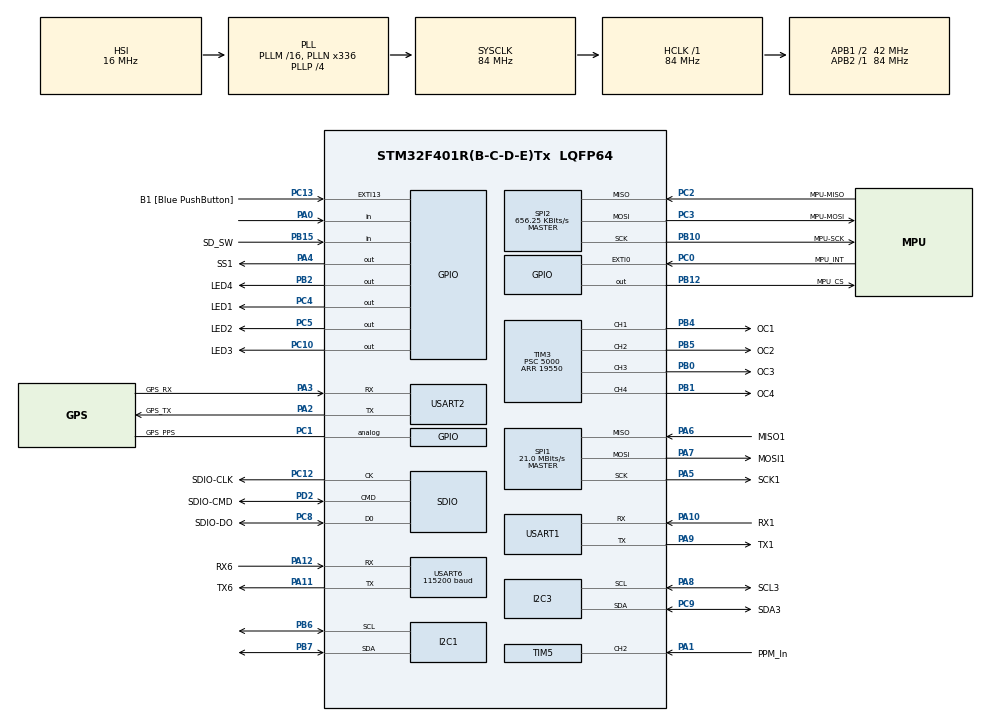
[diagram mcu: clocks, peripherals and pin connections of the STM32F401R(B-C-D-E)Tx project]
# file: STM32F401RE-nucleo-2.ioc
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Dma.Request0=SPI2_RX
Dma.Request1=SPI2_TX
Dma.SPI2_RX.0.Channel=DMA_CHANNEL_0
Dma.SPI2_RX.0.Direction=DMA_PERIPH_TO_MEMORY
Dma.SPI2_RX.0.FIFOMode=DMA_FIFOMODE_DISABLE
Dma.SPI2_RX.0.FIFOThreshold=DMA_FIFO_THRESHOLD_FULL
Dma.SPI2_RX.0.Instance=DMA1_Stream3
Dma.SPI2_RX.0.MemBurst=DMA_MBURST_SINGLE
Dma.SPI2_RX.0.MemDataAlignment=DMA_MDATAALIGN_BYTE
Dma.SPI2_RX.0.MemInc=DMA_MINC_ENABLE
Dma.SPI2_RX.0.Mode=DMA_NORMAL
Dma.SPI2_RX.0.PeriphBurst=DMA_PBURST_SINGLE
Dma.SPI2_RX.0.PeriphDataAlignment=DMA_PDATAALIGN_BYTE
Dma.SPI2_RX.0.PeriphInc=DMA_PINC_DISABLE
Dma.SPI2_RX.0.Priority=DMA_PRIORITY_LOW
Dma.SPI2_TX.1.Channel=DMA_CHANNEL_0
Dma.SPI2_TX.1.Direction=DMA_MEMORY_TO_PERIPH
Dma.SPI2_TX.1.FIFOMode=DMA_FIFOMODE_DISABLE
Dma.SPI2_TX.1.FIFOThreshold=DMA_FIFO_THRESHOLD_FULL
Dma.SPI2_TX.1.Instance=DMA1_Stream4
Dma.SPI2_TX.1.MemBurst=DMA_MBURST_SINGLE
Dma.SPI2_TX.1.MemDataAlignment=DMA_MDATAALIGN_BYTE
Dma.SPI2_TX.1.MemInc=DMA_MINC_DISABLE
Dma.SPI2_TX.1.Mode=DMA_NORMAL
Dma.SPI2_TX.1.PeriphBurst=DMA_PBURST_SINGLE
Dma.SPI2_TX.1.PeriphDataAlignment=DMA_PDATAALIGN_BYTE
Dma.SPI2_TX.1.PeriphInc=DMA_PINC_DISABLE
Dma.SPI2_TX.1.Priority=DMA_PRIORITY_LOW
FATFS.BSP.number=1
FATFS0.BSP.i2caddr=0
FATFS0.BSP.i2creg=0
FATFS0.BSP.instance=PB15
FATFS0.BSP.ip=GPIO
FATFS0.BSP.mode=Input
FATFS0.BSP.name=Detect_SDIO
FREERTOS.BinarySemaphores01=osSemaphoreIMU;osSemaphoreGPS
FREERTOS.Tasks01=defaultTask,0,1024,StartDefaultTask;TaskGPS,1,1024,StartTaskGPS;TaskIMU,2,1024,StartTaskIMU
FREERTOS.configCHECK_FOR_STACK_OVERFLOW=1
FREERTOS.configMINIMAL_STACK_SIZE=1024
FREERTOS.configTOTAL_HEAP_SIZE=32768
FREERTOS.configUSE_IDLE_HOOK=1
FREERTOS.configUSE_MALLOC_FAILED_HOOK=1
Mcu.Family=STM32F4
Mcu.Name=STM32F401R(B-C-D-E)Tx
Mcu.Package=LQFP64
NVIC.DMA1_Stream3_IRQn=true\:5\:0\:false
NVIC.DMA1_Stream4_IRQn=true\:5\:0\:false
NVIC.EXTI0_IRQn=true\:5\:0\:false
NVIC.EXTI15_10_IRQn=true\:5\:0\:false
NVIC.I2C1_ER_IRQn=true\:5\:0\:false
NVIC.I2C1_EV_IRQn=true\:5\:0\:false
NVIC.PriorityGroup=NVIC_PRIORITYGROUP_4
NVIC.SPI2_IRQn=true\:5\:0\:false
NVIC.TIM1_UP_TIM10_IRQn=true\:6\:0\:true
NVIC.TIM5_IRQn=true\:5\:0\:true
NVIC.USART1_IRQn=true\:5\:0\:false
NVIC.USART2_IRQn=true\:5\:0\:false
NVIC.USART6_IRQn=true\:5\:0\:false
PA0-WKUP.Signal=GPIO_Input
PA1.GPIO_Label=PPM_In
PA1.GPIO_ModeDefaultPP=GPIO_MODE_AF_PP
PA1.GPIO_PuPd=GPIO_NOPULL
PA1.GPIO_Speed=GPIO_SPEED_LOW
PA1.Signal=S_TIM5_CH2
PA10.GPIO_Label=RX1
PA10.GPIO_Mode=GPIO_MODE_AF_PP
PA10.GPIO_PuPd=GPIO_PULLUP
PA10.GPIO_Speed=GPIO_SPEED_LOW
PA10.Mode=Asynchronous
PA10.Signal=USART1_RX
PA11.GPIO_Label=TX6
PA11.GPIO_Mode=GPIO_MODE_AF_PP
PA11.GPIO_PuPd=GPIO_PULLUP
PA11.GPIO_Speed=GPIO_SPEED_LOW
PA11.Mode=Asynchronous
PA11.Signal=USART6_TX
PA12.GPIO_Label=RX6
PA12.GPIO_Mode=GPIO_MODE_AF_PP
PA12.GPIO_PuPd=GPIO_PULLUP
PA12.GPIO_Speed=GPIO_SPEED_LOW
PA12.Mode=Asynchronous
PA12.Signal=USART6_RX
PA13.GPIO_Label=SWIO
PA13.Mode=Trace-Asynchronous_SW
PA13.Signal=SYS_JTMS-SWDIO
PA14.GPIO_Label=SWCLK
PA14.Mode=Trace-Asynchronous_SW
PA14.Signal=SYS_JTCK-SWCLK
PA2.GPIO_Label=GPS_TX
PA2.GPIO_Mode=GPIO_MODE_AF_PP
PA2.GPIO_PuPd=GPIO_NOPULL
PA2.GPIO_Speed=GPIO_SPEED_LOW
PA2.Mode=Asynchronous
PA2.Signal=USART2_TX
PA3.GPIO_Label=GPS_RX
PA3.GPIO_Mode=GPIO_MODE_AF_PP
PA3.GPIO_PuPd=GPIO_NOPULL
PA3.GPIO_Speed=GPIO_SPEED_LOW
PA3.Mode=Asynchronous
PA3.Signal=USART2_RX
PA4.GPIO_Label=SS1
PA4.GPIO_ModeDefaultOutputPP=GPIO_MODE_OUTPUT_PP
PA4.GPIO_PuPd=GPIO_NOPULL
PA4.GPIO_Speed=GPIO_SPEED_LOW
PA4.Signal=GPIO_Output
PA5.GPIO_Label=SCK1
PA5.GPIO_Mode=GPIO_MODE_AF_PP
PA5.GPIO_PuPd=GPIO_NOPULL
PA5.GPIO_Speed=GPIO_SPEED_HIGH
PA5.Mode=Full_Duplex_Master
PA5.Signal=SPI1_SCK
PA6.GPIO_Label=MISO1
PA6.GPIO_Mode=GPIO_MODE_AF_PP
PA6.GPIO_PuPd=GPIO_NOPULL
PA6.GPIO_Speed=GPIO_SPEED_HIGH
PA6.Mode=Full_Duplex_Master
PA6.Signal=SPI1_MISO
PA7.GPIO_Label=MOSI1
PA7.GPIO_Mode=GPIO_MODE_AF_PP
PA7.GPIO_PuPd=GPIO_NOPULL
PA7.GPIO_Speed=GPIO_SPEED_HIGH
PA7.Mode=Full_Duplex_Master
PA7.Signal=SPI1_MOSI
PA8.GPIO_Label=SCL3
PA8.GPIO_Mode=GPIO_MODE_AF_OD
PA8.GPIO_PuPdOD=GPIO_PULLUP
PA8.GPIO_Speed=GPIO_SPEED_LOW
PA8.Mode=I2C
PA8.Signal=I2C3_SCL
PA9.GPIO_Label=TX1
PA9.GPIO_Mode=GPIO_MODE_AF_PP
PA9.GPIO_PuPd=GPIO_PULLUP
PA9.GPIO_Speed=GPIO_SPEED_LOW
PA9.Mode=Asynchronous
PA9.Signal=USART1_TX
PB0.GPIO_Label=OC3
PB0.GPIO_ModeDefaultPP=GPIO_MODE_AF_PP
PB0.GPIO_PuPd=GPIO_NOPULL
PB0.GPIO_Speed=GPIO_SPEED_LOW
PB0.Signal=S_TIM3_CH3
PB1.GPIO_Label=OC4
PB1.GPIO_ModeDefaultPP=GPIO_MODE_AF_PP
PB1.GPIO_PuPd=GPIO_NOPULL
PB1.GPIO_Speed=GPIO_SPEED_LOW
PB1.Signal=S_TIM3_CH4
PB10.GPIO_Label=MPU-SCK
PB10.GPIO_Mode=GPIO_MODE_AF_PP
PB10.GPIO_PuPd=GPIO_NOPULL
PB10.GPIO_Speed=GPIO_SPEED_LOW
PB10.Mode=Full_Duplex_Master
PB10.Signal=SPI2_SCK
PB12.GPIO_Label=MPU_CS
PB12.GPIO_ModeDefaultOutputPP=GPIO_MODE_OUTPUT_PP
PB12.GPIO_PuPd=GPIO_NOPULL
PB12.GPIO_Speed=GPIO_SPEED_LOW
PB12.Signal=GPIO_Output
PB13.GPIO_Label=OC5
PB13.GPIO_ModeDefaultPP=GPIO_MODE_AF_PP
PB13.GPIO_PuPd=GPIO_NOPULL
PB13.GPIO_Speed=GPIO_SPEED_LOW
PB13.Signal=TIM1_CH1N
PB14.GPIO_Label=OC6
PB14.GPIO_ModeDefaultPP=GPIO_MODE_AF_PP
PB14.GPIO_PuPd=GPIO_NOPULL
PB14.GPIO_Speed=GPIO_SPEED_LOW
PB14.Signal=TIM1_CH2N
PB15.GPIO_Label=SD_SW
PB15.GPIO_Mode=GPIO_MODE_INPUT
PB15.GPIO_PuPd=GPIO_NOPULL
PB15.Signal=GPIO_Input
PB2/BOOT1.GPIO_Label=LED4
PB2/BOOT1.GPIO_ModeDefaultOutputPP=GPIO_MODE_OUTPUT_OD
PB2/BOOT1.GPIO_PuPd=GPIO_NOPULL
PB2/BOOT1.GPIO_Speed=GPIO_SPEED_LOW
PB2/BOOT1.Signal=GPIO_Output
PB3.GPIO_Label=SWO
PB3.Mode=Trace-Asynchronous_SW
PB3.Signal=SYS_JTDO-SWO
PB4.GPIO_Label=OC1
PB4.GPIO_ModeDefaultPP=GPIO_MODE_AF_PP
PB4.GPIO_PuPd=GPIO_NOPULL
PB4.GPIO_Speed=GPIO_SPEED_LOW
PB4.Signal=S_TIM3_CH1
PB5.GPIO_Label=OC2
PB5.GPIO_ModeDefaultPP=GPIO_MODE_AF_PP
PB5.GPIO_PuPd=GPIO_NOPULL
PB5.GPIO_Speed=GPIO_SPEED_LOW
PB5.Signal=S_TIM3_CH2
PB6.GPIO_Mode=GPIO_MODE_AF_OD
PB6.GPIO_PuPdOD=GPIO_PULLUP
PB6.GPIO_Speed=GPIO_SPEED_LOW
PB6.Mode=I2C
PB6.Signal=I2C1_SCL
PB7.GPIO_Mode=GPIO_MODE_AF_OD
PB7.GPIO_PuPdOD=GPIO_PULLUP
PB7.GPIO_Speed=GPIO_SPEED_LOW
PB7.Mode=I2C
PB7.Signal=I2C1_SDA
PC0.GPIO_Label=MPU_INT
PC0.GPIO_ModeDefaultEXTI=GPIO_MODE_IT_FALLING
PC0.GPIO_PuPd=GPIO_PULLUP
PC0.Signal=GPXTI0
PC1.GPIO_Label=GPS_PPS
PC1.GPIO_Mode=GPIO_MODE_ANALOG
PC1.GPIO_PuPd=GPIO_NOPULL
PC1.Signal=GPIO_Analog
PC10.GPIO_Label=LED3
PC10.GPIO_ModeDefaultOutputPP=GPIO_MODE_OUTPUT_PP
PC10.GPIO_PuPd=GPIO_NOPULL
PC10.GPIO_Speed=GPIO_SPEED_LOW
PC10.Signal=GPIO_Output
PC12.GPIO_Label=SDIO-CLK
PC12.GPIO_Mode=GPIO_MODE_AF_PP
PC12.GPIO_PuPd=GPIO_NOPULL
PC12.GPIO_Speed_High_Default=GPIO_SPEED_HIGH
PC12.Mode=SD_1_bit
PC12.Signal=SDIO_CK
PC13-ANTI_TAMP.GPIO_Label=B1 [Blue PushButton]
PC13-ANTI_TAMP.GPIO_ModeDefaultEXTI=GPIO_MODE_IT_FALLING
PC13-ANTI_TAMP.GPIO_PuPd=GPIO_NOPULL
PC13-ANTI_TAMP.Signal=GPXTI13
PC14-OSC32_IN.Mode=LSE-External-Oscillator
PC14-OSC32_IN.Signal=RCC_OSC32_IN
PC15-OSC32_OUT.Mode=LSE-External-Oscillator
PC15-OSC32_OUT.Signal=RCC_OSC32_OUT
PC2.GPIO_Label=MPU-MISO
PC2.GPIO_Mode=GPIO_MODE_AF_PP
PC2.GPIO_PuPd=GPIO_NOPULL
PC2.GPIO_Speed=GPIO_SPEED_LOW
PC2.Mode=Full_Duplex_Master
PC2.Signal=SPI2_MISO
PC3.GPIO_Label=MPU-MOSI
PC3.GPIO_Mode=GPIO_MODE_AF_PP
PC3.GPIO_PuPd=GPIO_NOPULL
PC3.GPIO_Speed=GPIO_SPEED_LOW
PC3.Mode=Full_Duplex_Master
PC3.Signal=SPI2_MOSI
PC4.GPIO_Label=LED1
PC4.GPIO_ModeDefaultOutputPP=GPIO_MODE_OUTPUT_PP
PC4.GPIO_PuPd=GPIO_NOPULL
PC4.GPIO_Speed=GPIO_SPEED_LOW
PC4.Signal=GPIO_Output
PC5.GPIO_Label=LED2
PC5.GPIO_ModeDefaultOutputPP=GPIO_MODE_OUTPUT_PP
PC5.GPIO_PuPd=GPIO_NOPULL
PC5.GPIO_Speed=GPIO_SPEED_LOW
PC5.Signal=GPIO_Output
PC8.GPIO_Label=SDIO-DO
PC8.GPIO_Mode=GPIO_MODE_AF_PP
PC8.GPIO_PuPd=GPIO_NOPULL
PC8.GPIO_Speed_High_Default=GPIO_SPEED_HIGH
PC8.Mode=SD_1_bit
PC8.Signal=SDIO_D0
PC9.GPIO_Label=SDA3
PC9.GPIO_Mode=GPIO_MODE_AF_OD
PC9.GPIO_PuPdOD=GPIO_PULLUP
PC9.GPIO_Speed=GPIO_SPEED_LOW
PC9.Mode=I2C
PC9.Signal=I2C3_SDA
PD2.GPIO_Label=SDIO-CMD
PD2.GPIO_Mode=GPIO_MODE_AF_PP
PD2.GPIO_PuPd=GPIO_NOPULL
PD2.GPIO_Speed_High_Default=GPIO_SPEED_HIGH
PD2.Mode=SD_1_bit
PD2.Signal=SDIO_CMD
PH0\ -\ OSC_IN.Signal=RCC_OSC_IN
PH1\ -\ OSC_OUT.Signal=RCC_OSC_OUT
ProjectManager.TargetToolchain=TrueSTUDIO 4.3.1
RCC.48MHZClocksFreq_Value=48000000
RCC.AHBFreq_Value=84000000
RCC.APB1CLKDivider=RCC_HCLK_DIV2
RCC.APB1Freq_Value=42000000
RCC.APB1TimFreq_Value=84000000
RCC.APB2Freq_Value=84000000
RCC.APB2TimFreq_Value=84000000
RCC.CortexFreq_Value=10500000
RCC.Cortex_Div=SYSTICK_CLKSOURCE_HCLK_DIV8
RCC.HCLKFreq_Value=84000000
RCC.HSE_VALUE=8000000
RCC.HSI_VALUE=16000000
RCC.PLLN=336
RCC.PLLP=RCC_PLLP_DIV4
RCC.PLLQ=7
RCC.SYSCLKFreq_VALUE=84000000
RCC.SYSCLKSource=RCC_SYSCLKSOURCE_PLLCLK
RCC.VCOOutputFreq_Value=336000000
SDIO.BusWide=SDIO_BUS_WIDE_1B
SDIO.BusWide-SD_1_bit=SDIO_BUS_WIDE_1B
SDIO.ClockDiv=4
SH.S_TIM3_CH1.0=TIM3_CH1,PWM Generation1 CH1
SH.S_TIM3_CH2.0=TIM3_CH2,PWM Generation2 CH2
SH.S_TIM3_CH3.0=TIM3_CH3,PWM Generation3 CH3
SH.S_TIM3_CH4.0=TIM3_CH4,PWM Generation4 CH4
SH.S_TIM5_CH2.0=TIM5_CH2,Input_Capture2_from_TI2
SPI1.BaudRatePrescaler=SPI_BAUDRATEPRESCALER_4
SPI1.CalculateBaudRate=21.0 MBits/s
SPI1.Mode=SPI_MODE_MASTER
SPI2.BaudRatePrescaler=SPI_BAUDRATEPRESCALER_64
SPI2.CalculateBaudRate=656.25 KBits/s
SPI2.DataSize=SPI_DATASIZE_8BIT
SPI2.Mode=SPI_MODE_MASTER
TIM10.Prescaler=20000
TIM3.Channel-PWM\ Generation2\ CH2=TIM_CHANNEL_2
TIM3.Channel-PWM\ Generation3\ CH3=TIM_CHANNEL_3
TIM3.Channel-PWM\ Generation4\ CH4=TIM_CHANNEL_4
TIM3.Period=19550
TIM3.Prescaler=5000
TIM3.Pulse-PWM\ Generation1\ CH1=1500
TIM3.Pulse-PWM\ Generation2\ CH2=1500
TIM3.Pulse-PWM\ Generation3\ CH3=1500
TIM3.Pulse-PWM\ Generation4\ CH4=1500
TIM5.Channel-Input_Capture2_from_TI2=TIM_CHANNEL_2
TIM5.Period=0xFFFF
USART6.BaudRate=115200
VP_FATFS_VS_SDIO.Mode=SDIO
VP_FREERTOS_VS_ENABLE.Mode=Enabled
VP_TIM10_VS_ClockSourceINT.Mode=Enable_Timer
VP_TIM3_VS_ClockSourceINT.Mode=Internal
VP_TIM5_VS_ClockSourceINT.Mode=Internal
board=STM32F401RE-nucleo-2

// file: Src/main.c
/**
  ******************************************************************************
  * File Name          : main.c
  * Description        : Main program body
  ******************************************************************************
  *
  * COPYRIGHT(c) 2015 STMicroelectronics
  *
  * Redistribution and use in source and binary forms, with or without modification,
  * are permitted provided that the following conditions are met:
  *   1. Redistributions of source code must retain the above copyright notice,
  *      this list of conditions and the following disclaimer.
  *   2. Redistributions in binary form must reproduce the above copyright notice,
  *      this list of conditions and the following disclaimer in the documentation
  *      and/or other materials provided with the distribution.
  *   3. Neither the name of STMicroelectronics nor the names of its contributors
  *      may be used to endorse or promote products derived from this software
  *      without specific prior written permission.
  *
  * THIS SOFTWARE IS PROVIDED BY THE COPYRIGHT HOLDERS AND CONTRIBUTORS "AS IS"
  * AND ANY EXPRESS OR IMPLIED WARRANTIES, INCLUDING, BUT NOT LIMITED TO, THE
  * IMPLIED WARRANTIES OF MERCHANTABILITY AND FITNESS FOR A PARTICULAR PURPOSE ARE
  * DISCLAIMED. IN NO EVENT SHALL THE COPYRIGHT HOLDER OR CONTRIBUTORS BE LIABLE
  * FOR ANY DIRECT, INDIRECT, INCIDENTAL, SPECIAL, EXEMPLARY, OR CONSEQUENTIAL
  * DAMAGES (INCLUDING, BUT NOT LIMITED TO, PROCUREMENT OF SUBSTITUTE GOODS OR
  * SERVICES; LOSS OF USE, DATA, OR PROFITS; OR BUSINESS INTERRUPTION) HOWEVER
  * CAUSED AND ON ANY THEORY OF LIABILITY, WHETHER IN CONTRACT, STRICT LIABILITY,
  * OR TORT (INCLUDING NEGLIGENCE OR OTHERWISE) ARISING IN ANY WAY OUT OF THE USE
  * OF THIS SOFTWARE, EVEN IF ADVISED OF THE POSSIBILITY OF SUCH DAMAGE.
  *
  ******************************************************************************
  */
#include "stm32f4xx_hal.h"
#include "cmsis_os.h"
#include "dma.h"
#include "fatfs.h"
#include "i2c.h"
#include "sdio.h"
#include "spi.h"
#include "tim.h"
#include "usart.h"
#include "gpio.h"

/* USER CODE BEGIN Includes */
//#include "radioIn.h"
#include "libUDB.h"
#include "radioIn.h"
#include "serialIO.h"
#include "servoOut.h"
#include "mpu6000.h"
#include "heartbeat.h"
#include <stdio.h>
/* USER CODE END Includes */

/* USER CODE BEGIN PV */
/*
#define LED1	GPIO_PIN_4
#define LED2	GPIO_PIN_5
#define LED3	GPIO_PIN_10
#define LED4	GPIO_PIN_2

#define LED1_Port	GPIOC
#define LED2_Port	GPIOC
#define LED3_Port	GPIOC
#define LED4_Port	GPIOB
 */
/* USER CODE END PV */

void SystemClock_Config(void);
void MX_FREERTOS_Init(void);

/* USER CODE BEGIN PFP */
extern int tsirq;

/* USER CODE END PFP */

/* USER CODE BEGIN 0 */
#define main mcu_init
/* USER CODE END 0 */

int main(void) // this becomes: int mcu_init(void)
{

  /* MCU Configuration----------------------------------------------------------*/

  /* Reset of all peripherals, Initializes the Flash interface and the Systick. */
  HAL_Init();

  /* Configure the system clock */
  SystemClock_Config();

  /* Initialize all configured peripherals */
  MX_GPIO_Init();
  MX_DMA_Init();
  MX_I2C1_Init();
  MX_I2C3_Init();
  MX_SDIO_SD_Init();
  MX_SPI1_Init();
  MX_SPI2_Init();
  MX_TIM3_Init();
  MX_TIM5_Init();
  MX_TIM10_Init();
  MX_USART1_UART_Init();
  MX_USART2_UART_Init();
  MX_USART6_UART_Init();

  /* USER CODE BEGIN 2 */
	led_off(LED_RED);
	led_off(LED_BLUE);
	led_off(LED_GREEN);
	led_off(LED_ORANGE);
	led_on(LED_RED);

//	radioIn_init();     //elgarbe**************************************************
//	start_pwm_outputs();
	MPU6000_init16(&heartbeat); // initialise mpu in STM32 builds

  /* USER CODE END 2 */

  /* Call init function for freertos objects (in freertos.c) */
  MX_FREERTOS_Init();

  /* Start scheduler */
  osKernelStart();

  /* We should never get here as control is now taken by the scheduler */

  /* Infinite loop */
  while (1)
  {

  }

}

/** System Clock Configuration
*/
void SystemClock_Config(void)
{

  RCC_OscInitTypeDef RCC_OscInitStruct;
  RCC_ClkInitTypeDef RCC_ClkInitStruct;

  __PWR_CLK_ENABLE();

  __HAL_PWR_VOLTAGESCALING_CONFIG(PWR_REGULATOR_VOLTAGE_SCALE1);

  RCC_OscInitStruct.OscillatorType = RCC_OSCILLATORTYPE_HSI;
  RCC_OscInitStruct.HSIState = RCC_HSI_ON;
  RCC_OscInitStruct.HSICalibrationValue = 16;
  RCC_OscInitStruct.PLL.PLLState = RCC_PLL_ON;
  RCC_OscInitStruct.PLL.PLLSource = RCC_PLLSOURCE_HSI;
  RCC_OscInitStruct.PLL.PLLM = 16;
  RCC_OscInitStruct.PLL.PLLN = 336;
  RCC_OscInitStruct.PLL.PLLP = RCC_PLLP_DIV4;
  RCC_OscInitStruct.PLL.PLLQ = 7;
  HAL_RCC_OscConfig(&RCC_OscInitStruct);

  RCC_ClkInitStruct.ClockType = RCC_CLOCKTYPE_SYSCLK|RCC_CLOCKTYPE_PCLK1;
  RCC_ClkInitStruct.SYSCLKSource = RCC_SYSCLKSOURCE_PLLCLK;
  RCC_ClkInitStruct.AHBCLKDivider = RCC_SYSCLK_DIV1;
  RCC_ClkInitStruct.APB1CLKDivider = RCC_HCLK_DIV2;
  RCC_ClkInitStruct.APB2CLKDivider = RCC_HCLK_DIV1;
  HAL_RCC_ClockConfig(&RCC_ClkInitStruct, FLASH_LATENCY_2);

  HAL_SYSTICK_Config(HAL_RCC_GetHCLKFreq()/8000);

  HAL_SYSTICK_CLKSourceConfig(SYSTICK_CLKSOURCE_HCLK_DIV8);

}

/* USER CODE BEGIN 4 */
void _StartDefaultTask(void const * argument)
{
	int16_t pw[8];

	setvbuf(stdout, NULL, _IONBF, 0);

	printf("MatrixPilot STM32-nucleo\r\n");

	matrixpilot_init(); // initialise from default CMSOS task
//	udb_init_GPS();
	udb_init_GPS(&udb_gps_callback_get_byte_to_send, &udb_gps_callback_received_byte);

	filesys_init(); // attempts to mount a file system (STM builds)

  /* Infinite loop */
  for(;;)
  {
		static int i = 0;
		matrixpilot_loop();
//		HAL_GPIO_TogglePin(GPIOA, GPIO_PIN_5);
		HAL_Delay(25); // should give us very roughly 40Hz

//		if (++i > 5){
        // Read the inputs
        radioIn_getInput(pw, 8);
        // Update the servos
        set_pwm_outputs(pw);
//        i=0;
//		}

		if (tsirq)
		{
//			i = 0;
			tsirq = 0;
			printf("#");
//			fflush(stdout);
		}
		udb_run();
//		udb_heartbeat_40hz_callback(); // Run at 40Hz
//		udb_heartbeat_callback(); // Run at HEARTBEAT_HZ

//		osDelay(1);
  }
}
/* USER CODE END 4 */

#ifdef USE_FULL_ASSERT

/**
   * @brief Reports the name of the source file and the source line number
   * where the assert_param error has occurred.
   * @param file: pointer to the source file name
   * @param line: assert_param error line source number
   * @retval None
   */
void assert_failed(uint8_t* file, uint32_t line)
{
  /* USER CODE BEGIN 6 */
  /* User can add his own implementation to report the file name and line number,
    ex: printf("Wrong parameters value: file %s on line %d\r\n", file, line) */
	printf("assert_failed %s %d\r\n", file, (int)line);
  /* USER CODE END 6 */

}

#endif

/************************ (C) COPYRIGHT STMicroelectronics *****END OF FILE****/

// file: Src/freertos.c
/**
  ******************************************************************************
  * File Name          : freertos.c
  * Description        : Code for freertos applications
  ******************************************************************************
  *
  * COPYRIGHT(c) 2015 STMicroelectronics
  *
  * Redistribution and use in source and binary forms, with or without modification,
  * are permitted provided that the following conditions are met:
  *   1. Redistributions of source code must retain the above copyright notice,
  *      this list of conditions and the following disclaimer.
  *   2. Redistributions in binary form must reproduce the above copyright notice,
  *      this list of conditions and the following disclaimer in the documentation
  *      and/or other materials provided with the distribution.
  *   3. Neither the name of STMicroelectronics nor the names of its contributors
  *      may be used to endorse or promote products derived from this software
  *      without specific prior written permission.
  *
  * THIS SOFTWARE IS PROVIDED BY THE COPYRIGHT HOLDERS AND CONTRIBUTORS "AS IS"
  * AND ANY EXPRESS OR IMPLIED WARRANTIES, INCLUDING, BUT NOT LIMITED TO, THE
  * IMPLIED WARRANTIES OF MERCHANTABILITY AND FITNESS FOR A PARTICULAR PURPOSE ARE
  * DISCLAIMED. IN NO EVENT SHALL THE COPYRIGHT HOLDER OR CONTRIBUTORS BE LIABLE
  * FOR ANY DIRECT, INDIRECT, INCIDENTAL, SPECIAL, EXEMPLARY, OR CONSEQUENTIAL
  * DAMAGES (INCLUDING, BUT NOT LIMITED TO, PROCUREMENT OF SUBSTITUTE GOODS OR
  * SERVICES; LOSS OF USE, DATA, OR PROFITS; OR BUSINESS INTERRUPTION) HOWEVER
  * CAUSED AND ON ANY THEORY OF LIABILITY, WHETHER IN CONTRACT, STRICT LIABILITY,
  * OR TORT (INCLUDING NEGLIGENCE OR OTHERWISE) ARISING IN ANY WAY OUT OF THE USE
  * OF THIS SOFTWARE, EVEN IF ADVISED OF THE POSSIBILITY OF SUCH DAMAGE.
  *
  ******************************************************************************
  */

#include "FreeRTOS.h"
#include "task.h"
#include "cmsis_os.h"

/* USER CODE BEGIN Includes */
#include "libUDB.h"
#include "heartbeat.h"
#include <stdio.h>
/* USER CODE END Includes */

osThreadId defaultTaskHandle;
osThreadId TaskGPSHandle;
osThreadId TaskIMUHandle;
osSemaphoreId osSemaphoreIMUHandle;
osSemaphoreId osSemaphoreGPSHandle;

void StartDefaultTask(void const * argument);
void StartTaskGPS(void const * argument);
void StartTaskIMU(void const * argument);

extern void MX_FATFS_Init(void);
void MX_FREERTOS_Init(void); /* (MISRA C 2004 rule 8.1) */

/* USER CODE BEGIN FunctionPrototypes */
int matrixpilot_loop(void);

/* USER CODE END FunctionPrototypes */

/* Hook prototypes */
void vApplicationIdleHook(void);
void vApplicationStackOverflowHook(xTaskHandle xTask, signed char *pcTaskName);
void vApplicationMallocFailedHook(void);

/* USER CODE BEGIN 2 */

void vApplicationIdleHook( void )
{
   /* vApplicationIdleHook() will only be called if configUSE_IDLE_HOOK is set
   to 1 in FreeRTOSConfig.h. It will be called on each iteration of the idle
   task. It is essential that code added to this hook function never attempts
   to block in any way (for example, call xQueueReceive() with a block time
   specified, or call vTaskDelay()). If the application makes use of the
   vTaskDelete() API function (as this demo application does) then it is also
   important that vApplicationIdleHook() is permitted to return to its calling
   function, because it is the responsibility of the idle task to clean up
   memory allocated by the kernel to any task that has since been deleted. */

//	matrixpilot_loop();
}

/* USER CODE END 2 */

/* USER CODE BEGIN 4 */
void vApplicationStackOverflowHook(xTaskHandle xTask, signed char *pcTaskName)
{
   /* Run time stack overflow checking is performed if
   configCHECK_FOR_STACK_OVERFLOW is defined to 1 or 2. This hook function is
   called if a stack overflow is detected. */
}
/* USER CODE END 4 */

/* USER CODE BEGIN 5 */
void vApplicationMallocFailedHook(void)
{
   /* vApplicationMallocFailedHook() will only be called if
   configUSE_MALLOC_FAILED_HOOK is set to 1 in FreeRTOSConfig.h. It is a hook
   function that will get called if a call to pvPortMalloc() fails.
   pvPortMalloc() is called internally by the kernel whenever a task, queue,
   timer or semaphore is created. It is also called by various parts of the
   demo application. If heap_1.c or heap_2.c are used, then the size of the
   heap available to pvPortMalloc() is defined by configTOTAL_HEAP_SIZE in
   FreeRTOSConfig.h, and the xPortGetFreeHeapSize() API function can be used
   to query the size of free heap space that remains (although it does not
   provide information on how the remaining heap might be fragmented). */
	printf("vApplicationMallocFailedHook()\r\n");
//	taskDISABLE_INTERRUPTS();
	for( ;; );
}
/* USER CODE END 5 */

/* Init FreeRTOS */

void MX_FREERTOS_Init(void) {

  /* Create the semaphores(s) */
  /* definition and creation of osSemaphoreIMU */
  osSemaphoreDef(osSemaphoreIMU);
  osSemaphoreIMUHandle = osSemaphoreCreate(osSemaphore(osSemaphoreIMU), 1);

  /* definition and creation of osSemaphoreGPS */
  osSemaphoreDef(osSemaphoreGPS);
  osSemaphoreGPSHandle = osSemaphoreCreate(osSemaphore(osSemaphoreGPS), 1);

  /* USER CODE BEGIN RTOS_TIMERS */
  /* start timers, add new ones, ... */
  // There is some issue with Priorities and Stack size. I have to modify to make it work.
  //it seems that we can't use priorities Above Normal. To use AboveNormal we have to change
  //configMAX_PRIORITIES to 5 on FreeRTOSConfig.h
  //I'm not sure the relationship between configKERNEL_INTERRUPT_PRIORITY and configMAX_PRIORITIES
  /* USER CODE END RTOS_TIMERS */

  /* Create the thread(s) */
  /* definition and creation of defaultTask */
  osThreadDef(defaultTask, StartDefaultTask, osPriorityNormal, 0, configMINIMAL_STACK_SIZE);
  defaultTaskHandle = osThreadCreate(osThread(defaultTask), NULL);

  /* definition and creation of TaskGPS */
  osThreadDef(TaskGPS, StartTaskGPS, osPriorityAboveNormal, 0, configMINIMAL_STACK_SIZE);
  TaskGPSHandle = osThreadCreate(osThread(TaskGPS), NULL);

  /* definition and creation of TaskIMU */
  osThreadDef(TaskIMU, StartTaskIMU, osPriorityHigh, 0, configMINIMAL_STACK_SIZE);
  TaskIMUHandle = osThreadCreate(osThread(TaskIMU), NULL);

}

/* StartDefaultTask function */
void StartDefaultTask(void const * argument)
{
  /* init code for FATFS */
  MX_FATFS_Init();

  /* USER CODE BEGIN StartDefaultTask */
	DPRINT("StartDefaultTask: %p\r\n", argument);
void _StartDefaultTask(void const * argument);
	_StartDefaultTask(argument);
  /* USER CODE END StartDefaultTask */
}

/* USER CODE BEGIN 6 */
void RunTaskGPS(void);
void RunTaskIMU(void);

/* USER CODE END 6 */

/* StartTaskGPS function */
void StartTaskGPS(void const * argument)
{
  /* USER CODE BEGIN StartTaskGPS */
	(void)argument;
	DPRINT("StartTaskGPS\r\n");
	for(;;)
	{
		osSemaphoreWait(osSemaphoreGPSHandle, osWaitForever);
		RunTaskGPS();
//		udb_led_toggle(LED_RED);
	}
  /* USER CODE END StartTaskGPS */
}

/* StartTaskIMU function */
void StartTaskIMU(void const * argument)
{
  /* USER CODE BEGIN StartTaskIMU */
	led_on(LED_ORANGE);
	DPRINT("StartTaskIMU\r\n");
	for(;;)
	{
		static int i = 0;

//		osSemaphoreWait(osSemaphoreIMUHandle, osWaitForever);
		if (osSemaphoreWait(osSemaphoreIMUHandle, 500) == osOK)
		{
//			pulse(); // now called from RunTaskIMU below:
			RunTaskIMU();
		}
		else
		{
			// timeout
		}
		if (i++ > 0)
		{
			i = 0;
//			DPRINT("#");
		}
		udb_led_toggle(LED_ORANGE);
//		udb_led_toggle(LED_BLUE);  // blue led not working?
	}
  /* USER CODE END StartTaskIMU */
}

/* USER CODE BEGIN Application */

void TriggerGPS(void)
{
	osSemaphoreRelease(osSemaphoreGPSHandle);
}

void TriggerIMU(void)
{
	osSemaphoreRelease(osSemaphoreIMUHandle);
}

/* USER CODE END Application */

/************************ (C) COPYRIGHT STMicroelectronics *****END OF FILE****/
